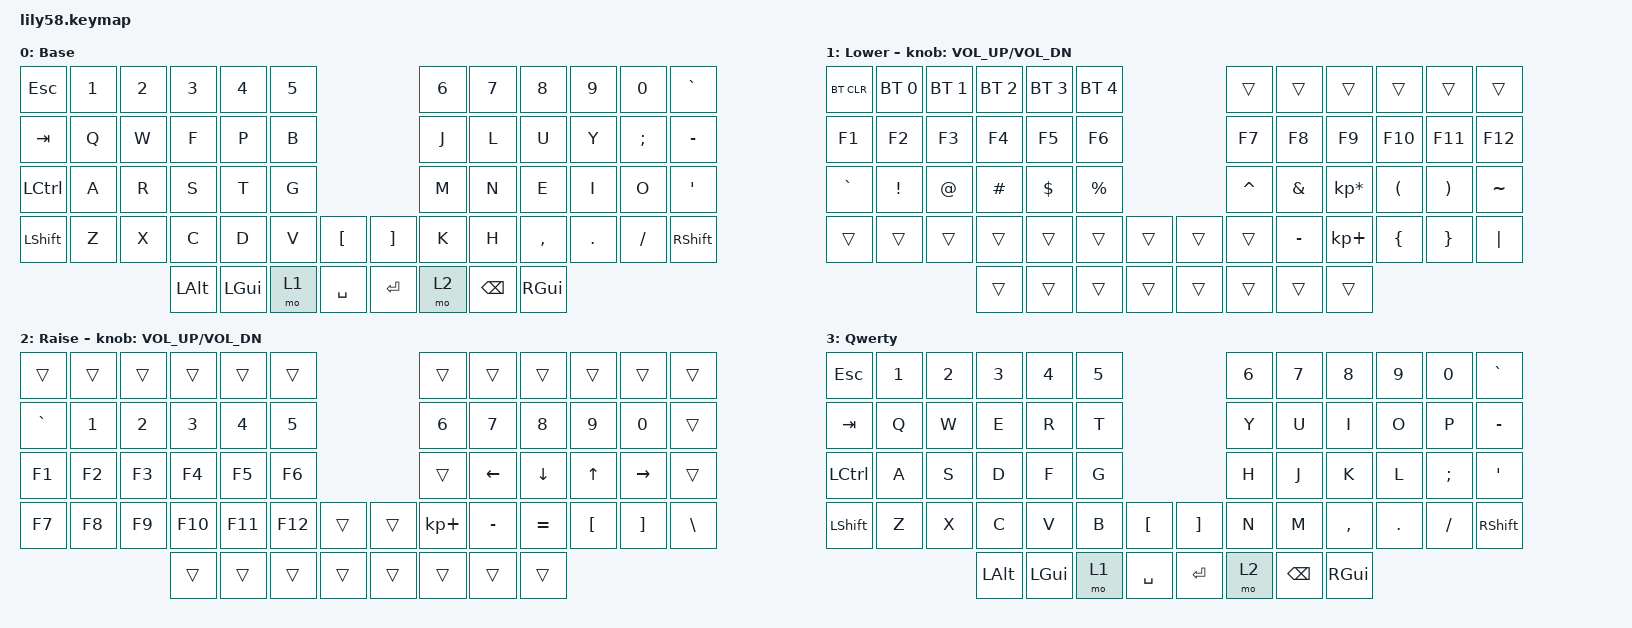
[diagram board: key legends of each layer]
/*
 * Copyright (c) 2020 The ZMK Contributors
 *
 * SPDX-License-Identifier: MIT
 */

#include <behaviors.dtsi>
#include <dt-bindings/zmk/bt.h>
#include <dt-bindings/zmk/keys.h>

/ {
    keymap {
        compatible = "zmk,keymap";

        colemak-dh {
            // ------------------------------------------------------------------------------------------------------------
            // |  ESC  |  1  |  2  |  3   |  4   |  5   |                   |  6   |  7    |  8    |  9   |   0   |   `   |
            // |  TAB  |  Q  |  W  |  F   |  P   |  B   |                   |  J   |  L    |  U    |  Y   |   ;   |   -   |
            // |  CTRL |  A  |  R  |  S   |  T   |  G   |                   |  M   |  N    |  E    |  I   |   O   |   '   |
            // | SHIFT |  Z  |  X  |  C   |  D   |  V   |   "["  |  |  "]"  |  K   |  H    |  ,    |  .   |   /   | SHIFT |
            //                     | ALT  | GUI  | LOWER|  SPACE |  | ENTER | RAISE| BSPC  | GUI   |

            display-name = "Base";
            bindings = <
&kp ESC    &kp N1  &kp N2  &kp N3    &kp N4    &kp N5                         &kp N6  &kp N7    &kp N8     &kp N9   &kp N0         &kp GRAVE
&kp TAB    &kp Q   &kp W   &kp F     &kp P     &kp B                          &kp J   &kp L     &kp U      &kp Y    &kp SEMICOLON  &kp MINUS
&kp LCTRL  &kp A   &kp R   &kp S     &kp T     &kp G                          &kp M   &kp N     &kp E      &kp I    &kp O          &kp SQT
&kp LSHFT  &kp Z   &kp X   &kp C     &kp D     &kp V   &kp LBKT     &kp RBKT  &kp K   &kp H     &kp COMMA  &kp DOT  &kp FSLH       &kp RSHFT
                           &kp LALT  &kp LGUI  &mo 1   &kp SPACE    &kp RET   &mo 2   &kp BSPC  &kp RGUI
            >;
        };

        lower_layer {
            // ------------------------------------------------------------------------------------------------------------
            // | BTCLR | BT1 | BT2 |  BT3 |  BT4 |  BT5 |                   |      |       |       |      |       |       |
            // |  F1   |  F2 |  F3 |  F4  |  F5  |  F6  |                   |  F7  |  F8   |  F9   |  F10 |  F11  |  F12  |
            // |   `   |  !  |  @  |  #   |  $   |  %   |                   |  ^   |  &    |  *    |  (   |   )   |   ~   |
            // |       |     |     |      |      |      |        |  |       |      |  _    |  +    |  {   |   }   |  "|"  |
            //                     |      |      |      |        |  |       |      |       |       |

            display-name = "Lower";
            bindings = <
&bt BT_CLR  &bt BT_SEL 0  &bt BT_SEL 1  &bt BT_SEL 2  &bt BT_SEL 3  &bt BT_SEL 4                    &trans     &trans     &trans           &trans    &trans    &trans
&kp F1      &kp F2        &kp F3        &kp F4        &kp F5        &kp F6                          &kp F7     &kp F8     &kp F9           &kp F10   &kp F11   &kp F12
&kp GRAVE   &kp EXCL      &kp AT        &kp HASH      &kp DOLLAR    &kp PRCNT                       &kp CARET  &kp AMPS   &kp KP_MULTIPLY  &kp LPAR  &kp RPAR  &kp TILDE
&trans      &trans        &trans        &trans        &trans        &trans        &trans    &trans  &trans     &kp MINUS  &kp KP_PLUS      &kp LBRC  &kp RBRC  &kp PIPE
                                        &trans        &trans        &trans        &trans    &trans  &trans     &trans     &trans
            >;

            sensor-bindings = <&inc_dec_kp C_VOL_UP C_VOL_DN>;
        };

        raise_layer {
            // ------------------------------------------------------------------------------------------------------------
            // |       |     |     |      |      |      |                   |      |       |       |      |       |       |
            // |   `   |  1  |  2  |  3   |  4   |  5   |                   |  6   |   7   |   8   |  9   |   0   |       |
            // |   F1  |  F2 |  F3 |  F4  |  F5  |  F6  |                   |      |   <-  |   v   |  ^   |  ->   |       |
            // |   F7  |  F8 |  F9 |  F10 |  F11 |  F12 |        |  |       |  +   |   -   |   =   |  [   |   ]   |   \   |
            //                     |      |      |      |        |  |       |      |       |       |

            display-name = "Raise";
            bindings = <
&trans     &trans  &trans  &trans   &trans   &trans                     &trans       &trans     &trans     &trans    &trans     &trans
&kp GRAVE  &kp N1  &kp N2  &kp N3   &kp N4   &kp N5                     &kp N6       &kp N7     &kp N8     &kp N9    &kp N0     &trans
&kp F1     &kp F2  &kp F3  &kp F4   &kp F5   &kp F6                     &trans       &kp LEFT   &kp DOWN   &kp UP    &kp RIGHT  &trans
&kp F7     &kp F8  &kp F9  &kp F10  &kp F11  &kp F12  &trans    &trans  &kp KP_PLUS  &kp MINUS  &kp EQUAL  &kp LBKT  &kp RBKT   &kp BSLH
                           &trans   &trans   &trans   &trans    &trans  &trans       &trans     &trans
            >;

            sensor-bindings = <&inc_dec_kp C_VOL_UP C_VOL_DN>;
        };

        extra_1 { status = "reserved"; };

        extra_2 { status = "reserved"; };

        qwerty {
            // ------------------------------------------------------------------------------------------------------------
            // |  ESC  |  1  |  2  |  3   |  4   |  5   |                   |  6   |  7    |  8    |  9   |   0   |   `   |
            // |  TAB  |  Q  |  W  |  E   |  R   |  T   |                   |  Y   |  U    |  I    |  O   |   P   |   -   |
            // |  CTRL |  A  |  S  |  D   |  F   |  G   |                   |  H   |  J    |  K    |  L   |   ;   |   '   |
            // | SHIFT |  Z  |  X  |  C   |  V   |  B   |   "["  |  |  "]"  |  N   |  M    |  ,    |  .   |   /   | SHIFT |
            //                     | ALT  | GUI  | LOWER|  SPACE |  | ENTER | RAISE| BSPC  | GUI   |

            display-name = "Qwerty";
            bindings = <
&kp ESC    &kp N1  &kp N2  &kp N3    &kp N4    &kp N5                         &kp N6  &kp N7    &kp N8     &kp N9   &kp N0    &kp GRAVE
&kp TAB    &kp Q   &kp W   &kp E     &kp R     &kp T                          &kp Y   &kp U     &kp I      &kp O    &kp P     &kp MINUS
&kp LCTRL  &kp A   &kp S   &kp D     &kp F     &kp G                          &kp H   &kp J     &kp K      &kp L    &kp SEMI  &kp SQT
&kp LSHFT  &kp Z   &kp X   &kp C     &kp V     &kp B   &kp LBKT     &kp RBKT  &kp N   &kp M     &kp COMMA  &kp DOT  &kp FSLH  &kp RSHFT
                           &kp LALT  &kp LGUI  &mo 1   &kp SPACE    &kp RET   &mo 2   &kp BSPC  &kp RGUI
            >;
        };
    };
};
